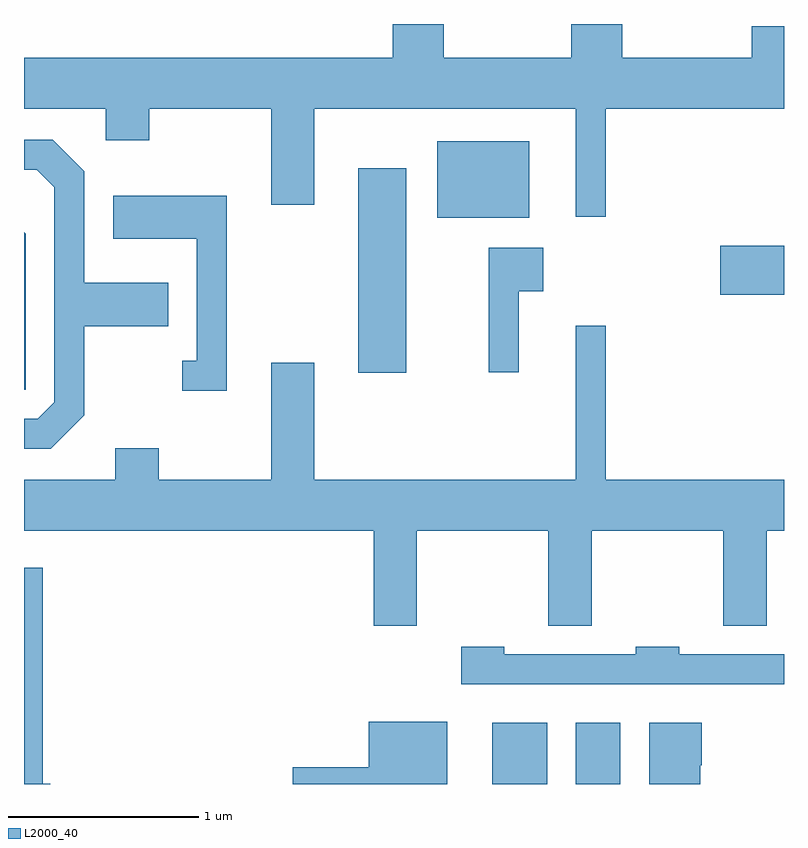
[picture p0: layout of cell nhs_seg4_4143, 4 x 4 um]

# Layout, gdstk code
import gdstk
lib = gdstk.Library(unit=1e-6, precision=1e-09)
def R(c, l, rs):  # rectangles x0, y0, x1, y1
    for r in rs: c.add(gdstk.rectangle(r[:2], r[2:], *l))
def P(c, l, *ps):  # polygons
    for p in ps: c.add(gdstk.Polygon(p, *l))
L2000_40 = (2000, 40)

nhs_seg4_4143 = lib.new_cell('nhs_seg4_4143')
R(nhs_seg4_4143, L2000_40, [(308.076,1379.982,308.364,1380.304), (308.516,1379.982,308.749,1380.304), (307.371,1382.146,307.624,1383.224), (309.276,1382.556,309.611,1382.814), (307.786,1382.961,308.269,1383.364)])
P(nhs_seg4_4143, L2000_40, [(308.674,1383.536),(309.611,1383.536),(309.611,1383.969),(309.441,1383.969),(309.441,1383.804),(308.759,1383.804),(308.759,1383.982),(308.491,1383.982),(308.491,1383.804),(307.819,1383.804),(307.819,1383.982),(307.551,1383.982),(307.551,1383.804),(305.611,1383.804),(305.611,1383.536),(306.041,1383.536),(306.041,1383.371),(306.269,1383.371),(306.269,1383.536),(306.911,1383.536),(306.911,1383.031),(307.139,1383.031),(307.139,1383.536),(308.516,1383.536),(308.516,1382.968),(308.674,1382.968)],
  [(305.929,1381.924),(305.929,1382.391),(306.369,1382.391),(306.369,1382.619),(305.929,1382.619),(305.929,1383.207),(305.762,1383.374),(305.611,1383.374),(305.611,1383.216),(305.679,1383.216),(305.771,1383.124),(305.771,1381.992),(305.684,1381.904),(305.611,1381.904),(305.611,1381.746),(305.752,1381.746)],
  [(306.679,1383.079),(306.081,1383.079),(306.081,1382.851),(306.521,1382.851),(306.521,1382.209),(306.443,1382.209),(306.443,1382.051),(306.679,1382.051)],
  [(305.619,1382.877),(305.611,1382.885),(305.611,1382.056),(305.619,1382.056)],
  [(308.214,1382.576),(308.344,1382.576),(308.344,1382.804),(308.056,1382.804),(308.056,1382.148),(308.214,1382.148)],
  [(307.679,1381.316),(308.371,1381.316),(308.371,1380.816),(308.599,1380.816),(308.599,1381.316),(309.291,1381.316),(309.291,1380.816),(309.519,1380.816),(309.519,1381.316),(309.611,1381.316),(309.611,1381.584),(308.674,1381.584),(308.674,1382.393),(308.516,1382.393),(308.516,1381.584),(307.139,1381.584),(307.139,1382.199),(306.911,1382.199),(306.911,1381.584),(306.319,1381.584),(306.319,1381.749),(306.091,1381.749),(306.091,1381.584),(305.611,1381.584),(305.611,1381.316),(307.451,1381.316),(307.451,1380.816),(307.679,1380.816)],
  [(305.749,1379.984),(305.709,1379.984),(305.709,1381.119),(305.611,1381.119),(305.611,1379.982),(305.749,1379.982)],
  [(309.611,1380.664),(309.059,1380.664),(309.059,1380.704),(308.831,1380.704),(308.831,1380.664),(308.139,1380.664),(308.139,1380.704),(307.911,1380.704),(307.911,1380.506),(309.611,1380.506)],
  [(307.839,1380.309),(307.426,1380.309),(307.426,1380.069),(307.026,1380.069),(307.026,1379.982),(307.839,1379.982)],
  [(309.169,1380.08),(309.179,1380.08),(309.179,1380.304),(308.901,1380.304),(308.901,1379.982),(309.169,1379.982)])

lib.write_gds('nhs_seg4_4143.gds')
